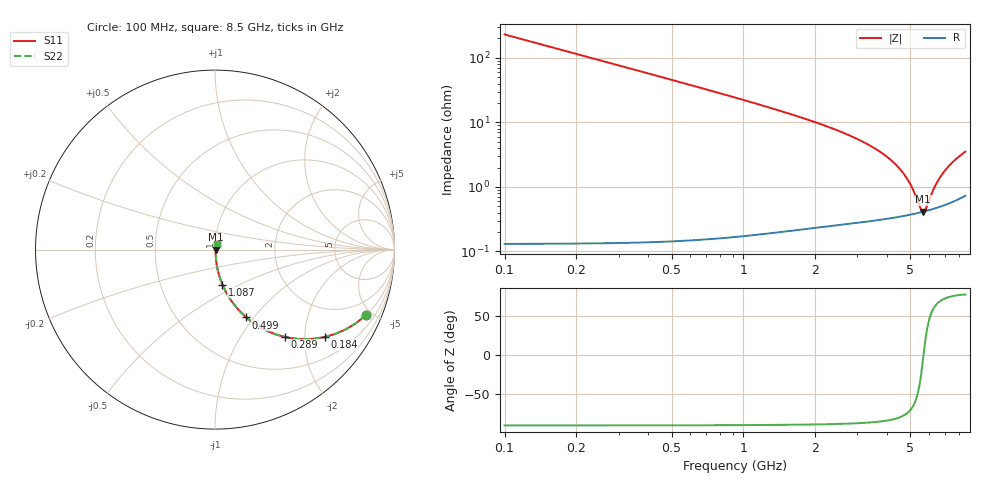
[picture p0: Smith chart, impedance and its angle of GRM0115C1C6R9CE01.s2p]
!Murata Part Number: GRM0115C1C6R9CE01
!These Parameters are Measured in Series Mode Connection
!Data Generated on Mar 30, 2021
!  o--ll--o
!Port1  Port2
!  o------o
!Operation Temp=25[degC], DC Bias Voltage=0[V]
!Freq. Start=100[MHz] Stop=9[GHz] 401[Steps]
# Hz S RI R 50
!Freq.(Hz) S11(Real) S11(Imag) S21(Real) S21(Imag) S12(Real) S12(Imag) S22(Real) S22(Imag)
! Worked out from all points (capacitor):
!   401 points, 100 MHz to 8.5 GHz, reference 50 ohm
!   read as one part in series: C = 6.9 pF near 142 MHz
!   lowest |Z| = 414 mohm at 5.665 GHz (marker M1)
!   series resonance near 5.674 GHz, so ESL is about 110 pH
!   S11 on the Smith chart (normalised r, x): 100 MHz: 1.00, -4.61; 184 MHz: 1.00, -2.50; 289 MHz: 1.00, -1.59; 499 MHz: 1.00, -0.92; 1.087 GHz: 1.00, -0.41; 8.5 GHz: 1.01, +0.07
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1e8  0.8415 -0.3649  0.1585 0.3649  0.1585 0.3649  0.8415 -0.3649
1.84e8  0.6105 -0.4871  0.3895 0.4871  0.3895 0.4871  0.6105 -0.4871
2.89e8  0.388 -0.4864  0.612 0.4864  0.612 0.4864  0.388 -0.4864
3.94e8  0.2538 -0.434  0.7462 0.434  0.7462 0.434  0.2538 -0.434
4.99e8  0.1744 -0.3779  0.8256 0.3779  0.8256 0.3779  0.1744 -0.3779
7.3e8  0.089 -0.2823  0.911 0.2823  0.911 0.2823  0.089 -0.2823
1.087e9  0.0415 -0.1951  0.9585 0.1951  0.9585 0.1951  0.0415 -0.1951
1.507e9  0.0216 -0.1384  0.9784 0.1384  0.9784 0.1384  0.0216 -0.1384
2.914e9  0.00607 -0.0576  0.9939 0.0576  0.9939 0.0576  0.00607 -0.0576
3.733e9  0.00429 -0.0347  0.9957 0.0347  0.9957 0.0347  0.00429 -0.0347
4.3e9  0.00386 -0.0227  0.9961 0.0227  0.9961 0.0227  0.00386 -0.0227
4.888e9  0.00379 -0.0121  0.9962 0.0121  0.9962 0.0121  0.00379 -0.0121
5.14e9  0.00385 -0.00802  0.9961 0.00802  0.9961 0.00802  0.00385 -0.00802
5.518e9  0.00403 -0.00226  0.996 0.00226  0.996 0.00226  0.00403 -0.00226
5.665e9  0.00412 -0.000132  0.9959 0.000132  0.9959 0.000132  0.00412 -0.000132
5.707e9  0.00415 0.000467  0.9959 -0.000467  0.9959 -0.000467  0.00415 0.000467
5.812e9  0.00423 0.00195  0.9958 -0.00195  0.9958 -0.00195  0.00423 0.00195
6.421e9  0.0048 0.0101  0.9952 -0.0101  0.9952 -0.0101  0.0048 0.0101
6.736e9  0.00518 0.014  0.9948 -0.014  0.9948 -0.014  0.00518 0.014
7.114e9  0.00572 0.0186  0.9943 -0.0186  0.9943 -0.0186  0.00572 0.0186
7.744e9  0.00679 0.0258  0.9932 -0.0258  0.9932 -0.0258  0.00679 0.0258
8.5e9  0.00843 0.0339  0.9916 -0.0339  0.9916 -0.0339  0.00843 0.0339
